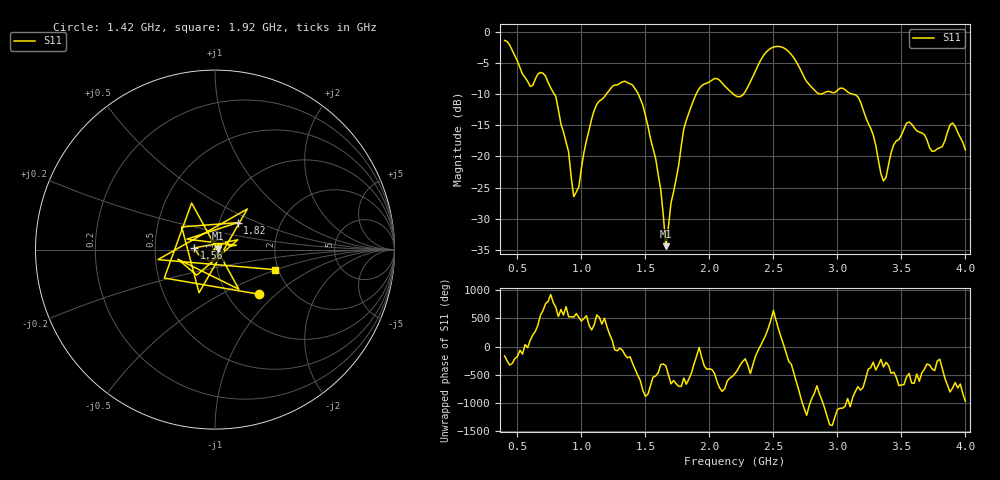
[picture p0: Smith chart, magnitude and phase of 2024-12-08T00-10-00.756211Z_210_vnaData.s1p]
!Created with skrf (http://scikit-rf.org).
# Hz S RI R 50.0
!freq ReS11 ImS11
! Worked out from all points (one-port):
!   181 points, 400 MHz to 4 GHz, reference 50 ohm
!   lowest |S11| = -34.4 dB at 1.66 GHz (marker M1), VSWR 1.04, Z = 51.9 + j0.564 ohm
!   |S11| at or under -10 dB: 788.6 MHz to 1.195 GHz (406 MHz wide, 40.9 % of centre); 1.444 GHz to 1.896 GHz (452.1 MHz wide, 27.1 % of centre); 3.118 GHz to end of sweep (the widest 3 of 4)
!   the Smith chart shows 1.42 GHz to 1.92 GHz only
!   S11 on the Smith chart (normalised r, x): 1.42 GHz: 1.39, -0.79; 1.56 GHz: 0.79, +0.02; 1.82 GHz: 1.22, +0.38; 1.92 GHz: 1.91, -0.49
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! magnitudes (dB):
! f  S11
! 400 MHz  -1.4
! 600 MHz  -8.7
! 720 MHz  -7.1
! 860 MHz  -16.1
! 900 MHz  -19.3
! 940 MHz  -26.5
! 1.1 GHz  -12.6
! 1.3 GHz  -8.3
! 1.42 GHz  -9.2
! 1.56 GHz  -18.7
! 1.62 GHz  -25.3
! 1.66 GHz  -34.4
! 1.76 GHz  -21.4
! 1.82 GHz  -14.2
! 1.92 GHz  -9.1
! 2.06 GHz  -7.5
! 2.2 GHz  -10.2
! 2.48 GHz  -2.6
! 2.66 GHz  -4.2
! 2.84 GHz  -9.8
! 3.1 GHz  -9.9
! 3.26 GHz  -15.5
! 3.36 GHz  -23.9
! 3.44 GHz  -18.1
! 3.56 GHz  -14.5
! 3.74 GHz  -19.2
! 3.9 GHz  -14.6
! 4 GHz  -18.9
